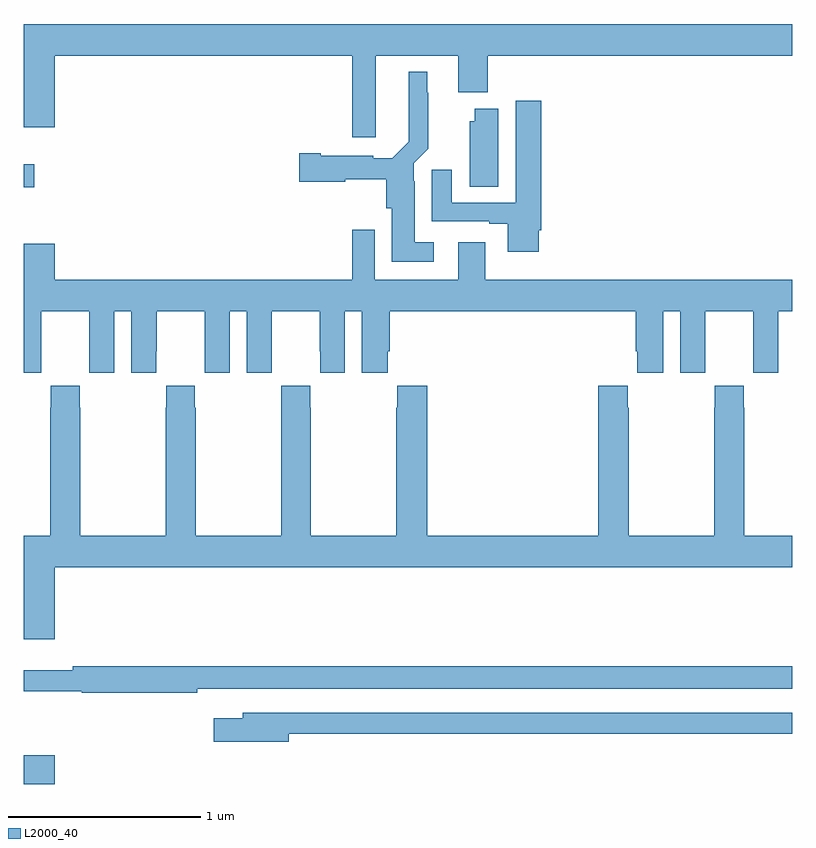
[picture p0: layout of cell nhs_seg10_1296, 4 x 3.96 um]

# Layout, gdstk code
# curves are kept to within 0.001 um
import gdstk
lib = gdstk.Library(unit=1e-6, precision=1e-09)
def R(c, l, rs):  # rectangles x0, y0, x1, y1
    for r in rs: c.add(gdstk.rectangle(r[:2], r[2:], *l))
def P(c, l, *ps):  # polygons
    for p in ps: c.add(gdstk.Polygon(p, *l))
L2000_40 = (2000, 40)

nhs_seg10_1296 = lib.new_cell('nhs_seg10_1296')
R(nhs_seg10_1296, L2000_40, [(177,1320.5,177.16,1320.649), (177,1323.605,177.055,1323.727)])
P(nhs_seg10_1296, L2000_40, [(178.831,1324.292),(179.261,1324.292),(179.261,1324.1),(179.414,1324.1),(179.414,1324.292),(181,1324.292),(181,1324.456),(177,1324.456),(177,1323.918),(177.16,1323.918),(177.16,1324.292),(178.709,1324.292),(178.709,1323.867),(178.831,1323.867)],
  [(179.134,1323.319),(179.035,1323.319),(179.035,1323.638),(179.031,1323.638),(179.031,1323.732),(179.105,1323.806),(179.105,1324.097),(179.101,1324.097),(179.101,1324.207),(179.003,1324.207),(179.004,1323.844),(178.917,1323.757),(178.818,1323.757),(178.818,1323.769),(178.546,1323.769),(178.546,1323.782),(178.434,1323.782),(178.434,1323.635),(178.674,1323.635),(178.674,1323.647),(178.886,1323.647),(178.886,1323.498),(178.916,1323.498),(178.916,1323.218),(179.134,1323.218)],
  [(179.68,1323.382),(179.693,1323.382),(179.693,1324.057),(179.561,1324.057),(179.561,1323.525),(179.227,1323.525),(179.227,1323.697),(179.123,1323.697),(179.123,1323.429),(179.423,1323.429),(179.423,1323.417),(179.519,1323.417),(179.519,1323.27),(179.68,1323.27)],
  [(179.47,1324.015),(179.348,1324.015),(179.348,1323.951),(179.321,1323.951),(179.321,1323.61),(179.47,1323.61)],
  [(177.16,1323.313),(177,1323.313),(177,1322.64),(177.09,1322.64),(177.09,1322.752),(177.091,1322.752),(177.091,1322.96),(177.341,1322.96),(177.341,1322.752),(177.342,1322.752),(177.342,1322.64),(177.472,1322.64),(177.472,1322.96),(177.56,1322.96),(177.56,1322.64),(177.69,1322.64),(177.69,1322.752),(177.691,1322.752),(177.691,1322.96),(177.941,1322.96),(177.941,1322.752),(177.942,1322.752),(177.942,1322.64),(178.072,1322.64),(178.072,1322.96),(178.16,1322.96),(178.16,1322.64),(178.29,1322.64),(178.29,1322.752),(178.291,1322.752),(178.291,1322.96),(178.541,1322.96),(178.541,1322.752),(178.542,1322.752),(178.542,1322.64),(178.672,1322.64),(178.672,1322.96),(178.76,1322.96),(178.76,1322.64),(178.894,1322.64),(178.894,1322.752),(178.904,1322.752),(178.904,1322.96),(180.185,1322.96),(180.185,1322.752),(180.194,1322.752),(180.194,1322.64),(180.328,1322.64),(180.328,1322.96),(180.416,1322.96),(180.416,1322.64),(180.546,1322.64),(180.546,1322.752),(180.547,1322.752),(180.547,1322.96),(180.797,1322.96),(180.797,1322.752),(180.798,1322.752),(180.798,1322.64),(180.928,1322.64),(180.928,1322.96),(181,1322.96),(181,1323.124),(179.401,1323.124),(179.401,1323.319),(179.261,1323.319),(179.261,1323.124),(178.827,1323.124),(178.827,1323.385),(178.711,1323.385),(178.711,1323.124),(177.16,1323.124)],
  [(177.16,1321.628),(181,1321.628),(181,1321.792),(180.75,1321.792),(180.75,1322.459),(180.747,1322.459),(180.747,1322.572),(180.597,1322.572),(180.597,1322.459),(180.595,1322.459),(180.595,1321.792),(180.15,1321.792),(180.15,1322.459),(180.143,1322.459),(180.143,1322.572),(179.99,1322.572),(179.99,1321.792),(179.099,1321.792),(179.099,1322.572),(178.945,1322.572),(178.945,1322.459),(178.939,1322.459),(178.939,1321.792),(178.494,1321.792),(178.494,1322.459),(178.491,1322.459),(178.491,1322.572),(178.341,1322.572),(178.341,1322.459),(178.339,1322.459),(178.339,1321.792),(177.894,1321.792),(177.894,1322.459),(177.891,1322.459),(177.891,1322.572),(177.741,1322.572),(177.741,1322.459),(177.739,1322.459),(177.739,1321.792),(177.294,1321.792),(177.294,1322.459),(177.291,1322.459),(177.291,1322.572),(177.141,1322.572),(177.141,1322.459),(177.139,1322.459),(177.139,1321.792),(177,1321.792),(177,1321.254),(177.16,1321.254)],
  [(177.902,1320.996),(181,1320.996),(181,1321.112),(177.256,1321.112),(177.256,1321.093),(177,1321.093),(177,1320.984),(177.302,1320.984),(177.302,1320.976),(177.902,1320.976)],
  [(178.378,1320.762),(181,1320.762),(181,1320.87),(178.139,1320.87),(178.139,1320.841),(177.99,1320.841),(177.99,1320.719),(178.378,1320.719)])

lib.write_gds('nhs_seg10_1296.gds')
